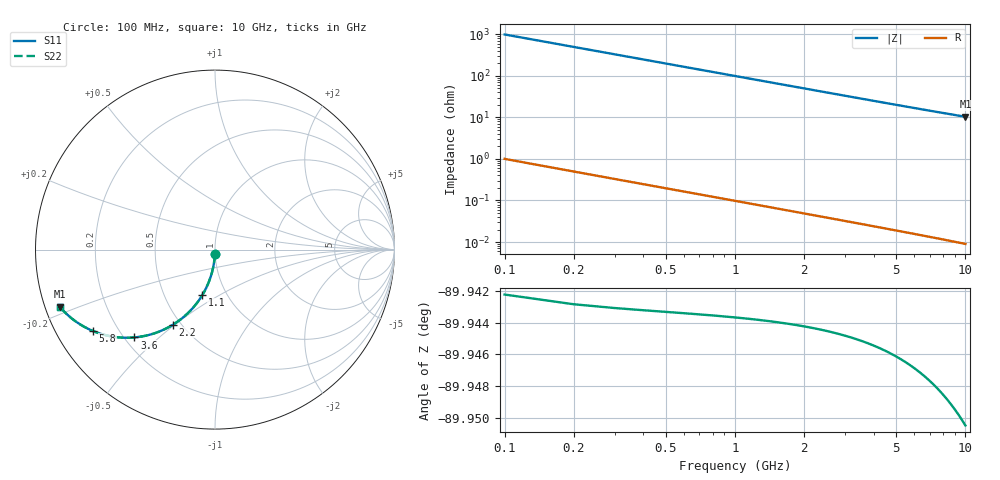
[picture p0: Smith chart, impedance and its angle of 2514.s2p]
# Hz S RI R 50.00
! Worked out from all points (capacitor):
!   100 points, 100 MHz to 10 GHz, reference 50 ohm
!   read as one part in shunt: C = 1.6 pF near 100 MHz
!   lowest |Z| = 10.4 ohm at 10 GHz (marker M1)
!   S11 on the Smith chart (normalised r, x): 100 MHz: 1.00, -0.05; 1.1 GHz: 0.77, -0.42; 2.2 GHz: 0.45, -0.49; 3.6 GHz: 0.24, -0.42; 5.8 GHz: 0.11, -0.30; 10 GHz: 0.04, -0.18
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1e8  -0.000608 -0.0248  0.9993 -0.0253  0.9993 -0.0253  -0.000608 -0.0248
2e8  -0.00251 -0.0496  0.9974 -0.0504  0.9974 -0.0504  -0.00251 -0.0496
3e8  -0.00565 -0.0742  0.9943 -0.0754  0.9943 -0.0754  -0.00565 -0.0742
4e8  -0.01 -0.0984  0.9899 -0.1001  0.9899 -0.1001  -0.01 -0.0984
5e8  -0.0155 -0.1223  0.9844 -0.1244  0.9844 -0.1244  -0.0155 -0.1223
6e8  -0.0222 -0.1458  0.9777 -0.1483  0.9777 -0.1483  -0.0222 -0.1458
7e8  -0.03 -0.1687  0.9699 -0.1717  0.9699 -0.1717  -0.03 -0.1687
9e8  -0.0486 -0.2127  0.9513 -0.2165  0.9513 -0.2165  -0.0486 -0.2127
1.1e9  -0.0709 -0.2539  0.929 -0.2585  0.929 -0.2585  -0.0709 -0.2539
1.4e9  -0.1099 -0.3094  0.89 -0.3153  0.89 -0.3153  -0.1099 -0.3094
1.8e9  -0.1694 -0.3709  0.8305 -0.3785  0.8305 -0.3785  -0.1694 -0.3709
2.2e9  -0.2335 -0.4179  0.7664 -0.4272  0.7664 -0.4272  -0.2335 -0.4179
2.8e9  -0.3303 -0.4639  0.6695 -0.4758  0.6695 -0.4758  -0.3303 -0.4639
3.4e9  -0.4211 -0.486  0.5787 -0.5005  0.5787 -0.5005  -0.4211 -0.486
3.6e9  -0.4492 -0.4893  0.5506 -0.5046  0.5506 -0.5046  -0.4492 -0.4893
4.3e9  -0.5379 -0.4889  0.4618 -0.5072  0.4618 -0.5072  -0.5379 -0.4889
5.1e9  -0.6211 -0.4736  0.3785 -0.4955  0.3785 -0.4955  -0.6211 -0.4736
5.8e9  -0.6798 -0.4535  0.3198 -0.4785  0.3198 -0.4785  -0.6798 -0.4535
6.7e9  -0.7395 -0.4237  0.26 -0.4528  0.26 -0.4528  -0.7395 -0.4237
7.5e9  -0.7809 -0.3965  0.2184 -0.4292  0.2184 -0.4292  -0.7809 -0.3965
8.4e9  -0.8177 -0.3669  0.1815 -0.4037  0.1815 -0.4037  -0.8177 -0.3669
1e10  -0.8648 -0.3187  0.1341 -0.363  0.1341 -0.363  -0.8648 -0.3187
